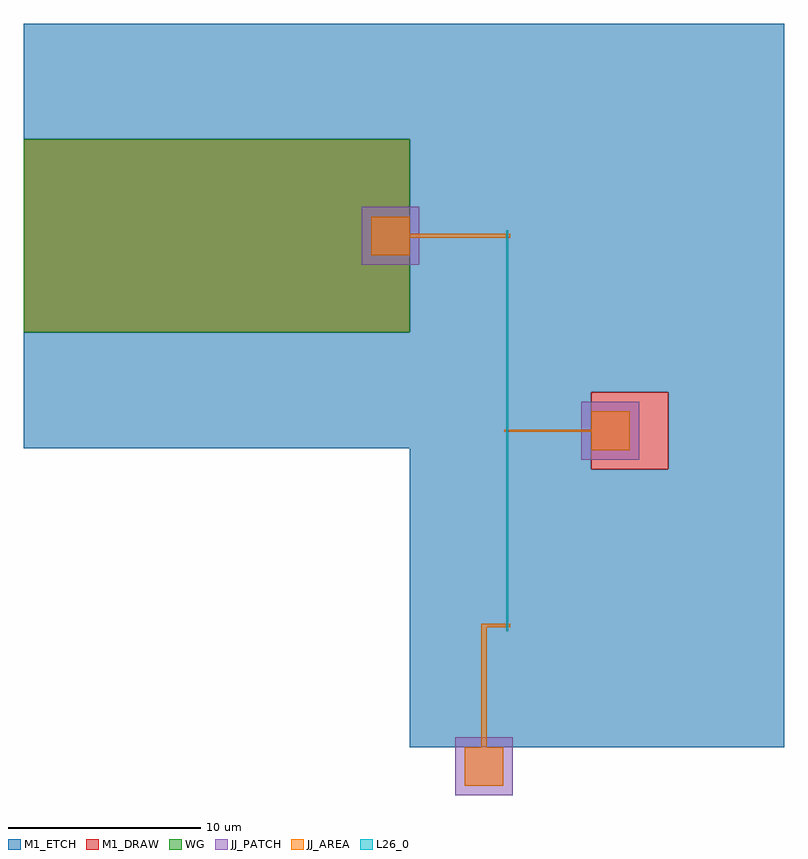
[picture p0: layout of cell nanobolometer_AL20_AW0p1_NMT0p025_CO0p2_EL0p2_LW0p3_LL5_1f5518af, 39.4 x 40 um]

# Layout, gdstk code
import gdstk
lib = gdstk.Library(unit=1e-6, precision=1e-09)
def R(c, l, rs):  # rectangles x0, y0, x1, y1
    for r in rs: c.add(gdstk.rectangle(r[:2], r[2:], *l))
def P(c, l, *ps):  # polygons
    for p in ps: c.add(gdstk.Polygon(p, *l))
M1_DRAW = (1, 0)
M1_ETCH = (1, 1)
JJ_AREA = (20, 0)
JJ_PATCH = (20, 1)
L26_0 = (26, 0)
WG = (102, 0)

straight_l20_cscpw_n2 = lib.new_cell('straight_L20_CScpw_N2')
R(straight_l20_cscpw_n2, M1_DRAW, [(0,-5,20,5)])
R(straight_l20_cscpw_n2, M1_ETCH, [(0,-11,20,-5), (0,5,20,11)])
R(straight_l20_cscpw_n2, WG, [(0,-5,20,5)])

nanobolometer_al20_aw0p1 = lib.new_cell('nanobolometer_AL20_AW0p1_NMT0p025_CO0p2_EL0p2_LW0p3_LL5_1f5518af')
R(nanobolometer_al20_aw0p1, M1_DRAW, [(4.4,-2,8.4,2)])
P(nanobolometer_al20_aw0p1, M1_ETCH, [(-5,-16.4),(-5,2),(4.4,2),(4.4,-2),(8.4,-2),(8.4,2),(-5,2),(-5,21.1),(14.4,21.1),(14.4,-16.4)])
R(nanobolometer_al20_aw0p1, JJ_AREA, [(-2.15,-18.4,-0.15,-16.4), (-1.3,-17.4,-1,-10), (-1.3,-10.2,0.2,-10), (4.4,-1,6.4,1), (-0.1,-0.05,1.15,0.05), (1.05,-0.05,5.4,0.05), (-7,9.1,-5,11.1), (-6,10,0.2,10.2)])
P(nanobolometer_al20_aw0p1, JJ_AREA, [(1.05,0),(1.05,0),(1.15,0),(1.15,0)])
R(nanobolometer_al20_aw0p1, JJ_PATCH, [(-2.65,-18.9,0.35,-15.9), (3.9,-1.5,6.9,1.5), (-7.5,8.6,-4.5,11.6)])
R(nanobolometer_al20_aw0p1, L26_0, [(0,-10.4,0.1,10.4)])
nanobolometer_al20_aw0p1.add(gdstk.Reference(straight_l20_cscpw_n2, (-25,10.1)))

lib.write_gds('nanobolometer_AL20_AW0p1_NMT0p025_CO0p2_EL0p2_LW0p3_LL5_1f5518af.gds')
